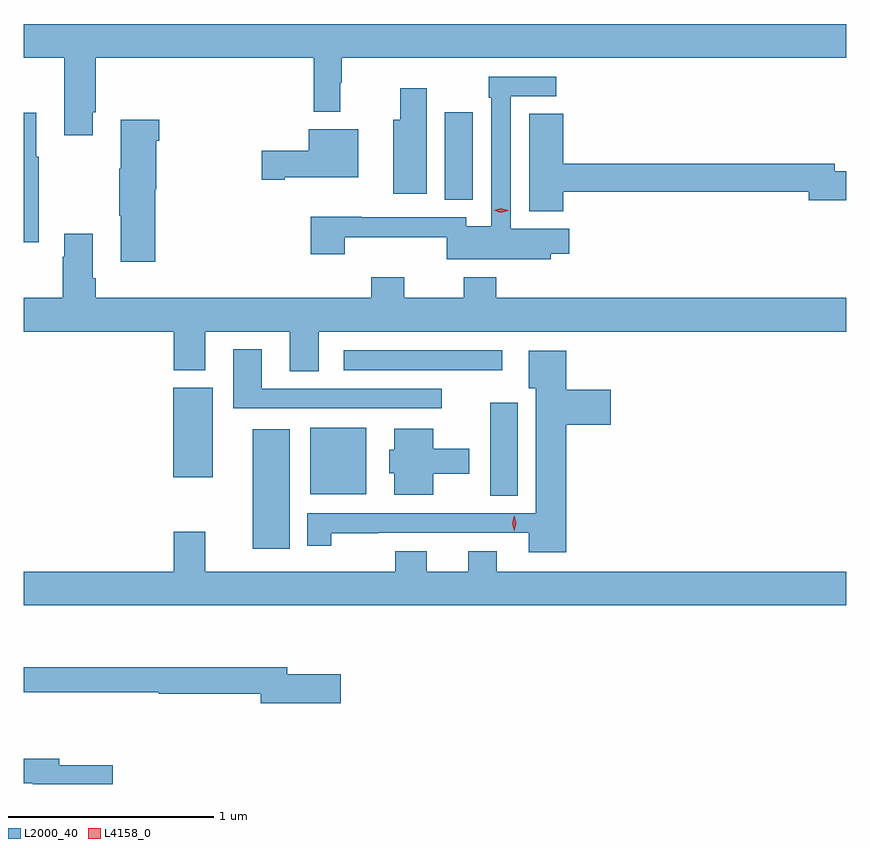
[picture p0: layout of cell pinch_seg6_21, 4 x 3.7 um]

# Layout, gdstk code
import gdstk
lib = gdstk.Library(unit=1e-6, precision=1e-09)
def R(c, l, rs):  # rectangles x0, y0, x1, y1
    for r in rs: c.add(gdstk.rectangle(r[:2], r[2:], *l))
def P(c, l, *ps):  # polygons
    for p in ps: c.add(gdstk.Polygon(p, *l))
L2000_40 = (2000, 40)
L4158_0 = (4158, 0)

pinch_seg6_21 = lib.new_cell('pinch_seg6_21')
R(pinch_seg6_21, L2000_40, [(960.065,962.264,960.244,962.845), (961.22,962.521,961.354,962.974), (960.344,962.528,960.616,962.851), (959.678,962.612,959.869,963.046), (960.507,963.132,961.279,963.228), (960.998,963.961,961.135,964.387)])
P(pinch_seg6_21, L2000_40, [(959.287,964.387),(959.3,964.387),(959.3,964.652),(960.361,964.652),(960.361,964.389),(960.49,964.389),(960.49,964.529),(960.497,964.529),(960.497,964.652),(962.951,964.652),(962.951,964.816),(958.951,964.816),(958.951,964.652),(959.147,964.652),(959.147,964.275),(959.287,964.275)],
  [(961.515,963.698),(961.603,963.698),(961.603,963.82),(961.32,963.82),(961.32,964.464),(961.54,964.464),(961.54,964.56),(961.212,964.56),(961.212,964.457),(961.224,964.457),(961.224,963.832),(961.104,963.832),(961.104,963.876),(960.595,963.876),(960.595,963.878),(960.347,963.878),(960.347,963.696),(960.512,963.696),(960.512,963.779),(961.008,963.779),(961.008,963.671),(961.515,963.671)],
  [(960.91,964.504),(960.781,964.504),(960.781,964.351),(960.749,964.351),(960.749,963.99),(960.91,963.99)],
  [(959.023,964.171),(959.011,964.171),(959.011,964.384),(958.951,964.384),(958.951,963.755),(959.023,963.755)],
  [(961.576,964),(962.768,964),(962.768,963.958),(962.951,963.958),(962.951,964.1),(962.896,964.1),(962.896,964.136),(961.576,964.136),(961.576,964.379),(961.409,964.379),(961.409,963.905),(961.576,963.905)],
  [(959.591,964.011),(959.596,964.011),(959.596,964.247),(959.609,964.247),(959.609,964.351),(959.423,964.351),(959.423,964.111),(959.416,964.111),(959.416,963.883),(959.423,963.883),(959.423,963.66),(959.591,963.66)],
  [(960.22,964.07),(960.577,964.07),(960.577,964.303),(960.338,964.303),(960.338,964.2),(960.108,964.2),(960.108,964.058),(960.22,964.058)],
  [(960.385,963.32),(962.951,963.32),(962.951,963.484),(961.25,963.484),(961.25,963.583),(961.09,963.583),(961.09,963.484),(960.801,963.484),(960.801,963.583),(960.641,963.583),(960.641,963.484),(959.3,963.484),(959.3,963.58),(959.287,963.58),(959.287,963.796),(959.147,963.796),(959.147,963.683),(959.14,963.683),(959.14,963.484),(958.951,963.484),(958.951,963.32),(959.681,963.32),(959.681,963.131),(959.833,963.131),(959.833,963.32),(960.245,963.32),(960.245,963.127),(960.385,963.127)],
  [(960.985,963.042),(960.109,963.042),(960.109,963.235),(959.969,963.235),(959.969,962.946),(960.985,962.946)],
  [(961.589,962.867),(961.807,962.867),(961.807,963.037),(961.589,963.037),(961.589,963.226),(961.406,963.226),(961.406,963.044),(961.442,963.044),(961.442,962.436),(960.329,962.436),(960.329,962.277),(960.447,962.277),(960.447,962.339),(960.674,962.339),(960.674,962.34),(961.406,962.34),(961.406,962.246),(961.589,962.246)],
  [(960.943,962.627),(961.117,962.627),(961.117,962.749),(960.943,962.749),(960.943,962.848),(960.752,962.848),(960.752,962.745),(960.728,962.745),(960.728,962.631),(960.752,962.631),(960.752,962.525),(960.943,962.525)],
  [(962.951,962.152),(961.252,962.152),(961.252,962.251),(961.112,962.251),(961.112,962.152),(960.91,962.152),(960.91,962.251),(960.758,962.251),(960.758,962.152),(959.833,962.152),(959.833,962.347),(959.681,962.347),(959.681,962.152),(958.951,962.152),(958.951,961.988),(962.951,961.988)],
  [(960.493,961.653),(960.232,961.653),(960.232,961.687),(958.951,961.687),(958.951,961.566),(959.608,961.566),(959.608,961.558),(960.104,961.558),(960.104,961.511),(960.493,961.511)],
  [(959.383,961.209),(959.122,961.209),(959.122,961.243),(958.951,961.243),(958.951,961.122),(958.994,961.122),(958.994,961.119),(959.383,961.119)])
P(pinch_seg6_21, L4158_0, [(961.337,962.351),(961.337,962.351),(961.327,962.387),(961.337,962.423),(961.337,962.423),(961.337,962.423),(961.347,962.387),(961.337,962.351)],
  [(961.272,963.899),(961.237,963.909),(961.237,963.91),(961.237,963.91),(961.272,963.919),(961.307,963.909),(961.307,963.909),(961.307,963.908)])

lib.write_gds('pinch_seg6_21.gds')
